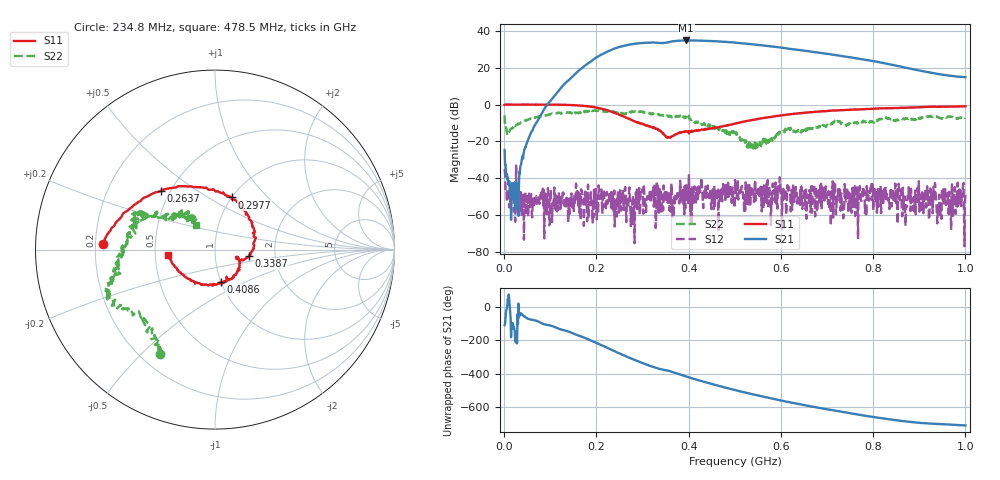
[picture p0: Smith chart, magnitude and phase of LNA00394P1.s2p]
! Created with skrf 1.9.0 (http://scikit-rf.org).
# Hz S RI R 50.0
!freq ReS11 ImS11 ReS21 ImS21 ReS12 ImS12 ReS22 ImS22
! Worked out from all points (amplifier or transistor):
!   1001 points, 1 MHz to 1 GHz, reference 50 ohm
!   highest |S21| = 34.9 dB at 394.6 MHz (marker M1)
!   |S21| within 3 dB of that: 258.3 MHz to 571.4 MHz (313.1 MHz wide, 75.5 % of centre)
!   unconditionally stable (mu >= 1): 211.1 MHz to 302.6 MHz; 302.8 MHz to 381.6 MHz; 400.8 MHz to end of sweep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
!   at 166.8 MHz: K = 0.23, MSG = 32.8 dB, |S12| = -46.1 dB
!   at 500.5 MHz: K = 1.23, MAG = 34.5 dB, |S12| = -41.0 dB
!   at 1 GHz: K = 4.15, MAG = 22.9 dB, |S12| = -49.2 dB
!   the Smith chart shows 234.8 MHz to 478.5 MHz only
!   S11 on the Smith chart (normalised r, x): 234.8 MHz: 0.23, +0.02; 263.7 MHz: 0.45, +0.36; 297.7 MHz: 1.00, +0.64; 338.7 MHz: 1.47, -0.11; 408.6 MHz: 1.00, -0.37; 478.5 MHz: 0.58, -0.04
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1000000  0.9821 0.00253  -0.0177 -0.0554  -0.014 0.0108  0.3898 0.332
1.08892e8  0.5207 -0.8475  -0.8038 -1.505  0.00384 0.00399  0.4286 -0.3833
1.67833e8  -0.2302 -0.9037  -9.741 -0.569  -0.000409 0.00468  0.042 -0.6225
2.06794e8  -0.6613 -0.4401  -15.77 14.65  -0.000402 0.00322  -0.1759 -0.6491
2.34766e8  -0.6242 0.031  -6.123 31.15  -0.000104 -0.00363  -0.3052 -0.5818
2.63737e8  -0.3016 0.3273  17.3 36.74  -0.00211 -0.00178  -0.4556 -0.3631
2.97703e8  0.0938 0.2907  42.37 20.41  -0.00232 0.00402  -0.5942 -0.2264
3.16684e8  0.2035 0.1472  48.23 5.304  -0.00188 0.00175  -0.56 -0.1098
3.34666e8  0.2078 -0.00884  47.12 -8.558  -0.00339 0.00104  -0.5364 -0.035
3.38662e8  0.1903 -0.0356  46.02 -11  -0.00377 0.00183  -0.5114 -0.021
3.68632e8  0.1362 -0.0576  44.36 -29.54  -0.00305 0.000114  -0.4313 0.1572
3.94606e8  0.0947 -0.1607  29.5 -47.01  -0.00074 0.00486  -0.4119 0.1982
4.08592e8  0.0312 -0.1802  19.07 -51.96  0.00121 -0.00217  -0.3366 0.1894
4.41559e8  -0.1359 -0.1733  -6.05 -53.78  0.00272 0.00565  -0.1862 0.1707
4.78522e8  -0.2623 -0.0282  -28.7 -41.98  0.00632 0.000203  -0.104 0.1386
5.005e8  -0.2903 0.0934  -37.07 -31.3  0.00895 -3.92e-05  -0.0949 0.1088
5.4046e8  -0.238 0.3052  -42.04 -10.21  0.00543 0.000524  -0.0723 0.0237
5.88412e8  -0.0542 0.4822  -35.51 10.44  0.00633 -0.00416  -0.1055 -0.0712
6.67333e8  0.3218 0.5328  -13.79 23.43  -0.000396 0.00108  -0.213 -0.0262
7.53247e8  0.6263 0.3662  3.679 18.63  -0.00114 0.000114  -0.3056 0.0275
8.34166e8  0.7843 0.1409  9.02 8.81  -0.00238 0.00055  -0.4101 0.0769
1e9  0.8103 -0.3927  5.559 0.647  0.00284 -0.002  -0.1846 0.3918
